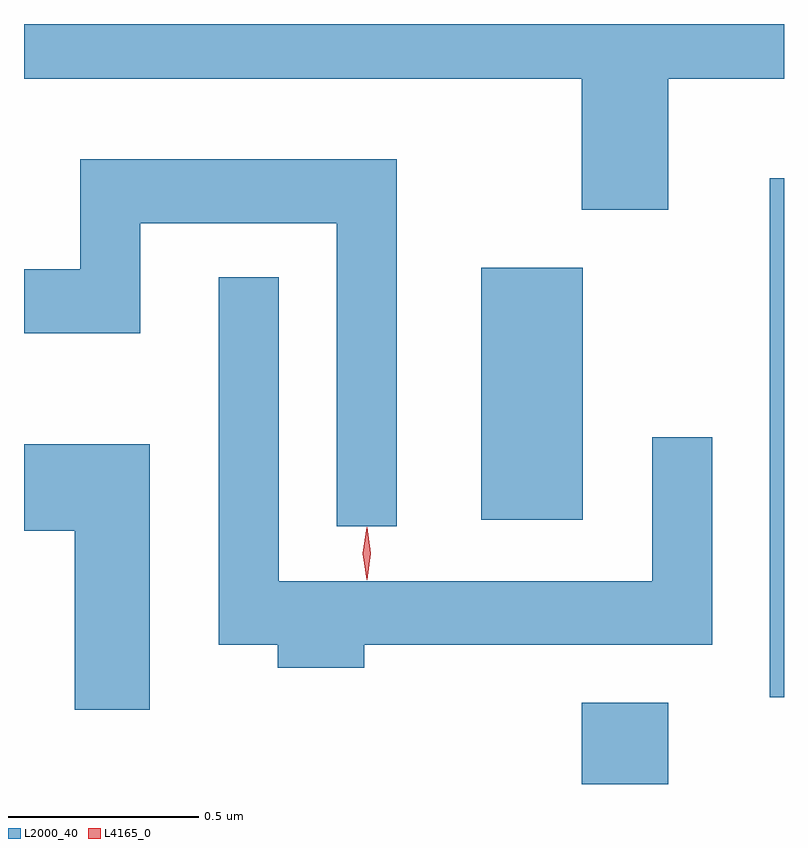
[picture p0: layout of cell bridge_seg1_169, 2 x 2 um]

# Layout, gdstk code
import gdstk
lib = gdstk.Library(unit=1e-6, precision=1e-09)
def R(c, l, rs):  # rectangles x0, y0, x1, y1
    for r in rs: c.add(gdstk.rectangle(r[:2], r[2:], *l))
def P(c, l, *ps):  # polygons
    for p in ps: c.add(gdstk.Polygon(p, *l))
L2000_40 = (2000, 40)
L4165_0 = (4165, 0)

bridge_seg1_169 = lib.new_cell('bridge_seg1_169')
R(bridge_seg1_169, L2000_40, [(813.071,966.54,813.299,966.754), (813.566,966.768,813.603,968.134), (812.806,967.236,813.074,967.899)])
P(bridge_seg1_169, L2000_40, [(813.299,968.396),(813.603,968.396),(813.603,968.54),(811.603,968.54),(811.603,968.396),(813.071,968.396),(813.071,968.051),(813.299,968.051)],
  [(812.584,968.184),(811.751,968.184),(811.751,967.894),(811.603,967.894),(811.603,967.726),(811.909,967.726),(811.909,968.016),(812.426,968.016),(812.426,967.218),(812.584,967.218)],
  [(812.499,966.906),(813.414,966.906),(813.414,967.453),(813.256,967.453),(813.256,967.074),(812.274,967.074),(812.274,967.873),(812.116,967.873),(812.116,966.906),(812.271,966.906),(812.271,966.846),(812.499,966.846)],
  [(811.934,967.434),(811.603,967.434),(811.603,967.206),(811.736,967.206),(811.736,966.736),(811.934,966.736)])
P(bridge_seg1_169, L4165_0, [(812.505,967.08),(812.505,967.08),(812.495,967.146),(812.505,967.212),(812.505,967.213),(812.506,967.212),(812.515,967.146),(812.506,967.08)],
  [(812.505,967.077),(812.505,967.077),(812.495,967.147),(812.505,967.216),(812.505,967.216),(812.506,967.216),(812.515,967.147),(812.506,967.077)])

lib.write_gds('bridge_seg1_169.gds')
